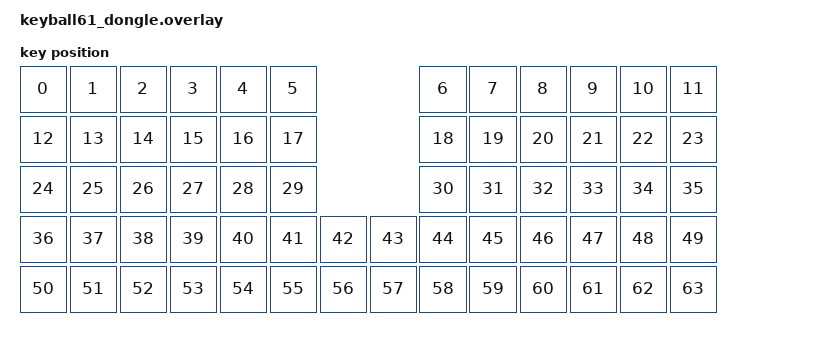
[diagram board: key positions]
/*
 * Донгл Keyball61: подключается к компьютеру по USB, клавиш и трекбола
 * на нём нет. Принимает данные от половин по Bluetooth.
 */

#include "keyball61_layout.dtsi"
#include "keyball61_trackball_split.dtsi"
#include <input/processors.dtsi>
#include <physical_layouts.dtsi>
#include <dt-bindings/zmk/input_transform.h>
#include <zephyr/dt-bindings/input/input-event-codes.h>

/ {
    chosen {
        /* Для ZMK Studio: вместо отдельных kscan и matrix-transform
         * используется физическая раскладка, которая на них ссылается. */
        /delete-property/ zmk,matrix-transform;
        zmk,physical-layout = &keyball61_physical_layout;
    };

    /* Физическая раскладка клавиш для ZMK Studio (порядок клавиш = порядок в keymap).
     * Размеры и координаты в сотых долях клавиши (100 = 1 клавиша). */
    keyball61_physical_layout: keyball61_physical_layout {
        compatible = "zmk,physical-layout";
        display-name = "Keyball61";
        kscan = <&mock_kscan>;
        transform = <&default_transform>;
        keys
        = <&key_physical_attrs 100 100 0 0 0 0 0>
        , <&key_physical_attrs 100 100 100 0 0 0 0>
        , <&key_physical_attrs 100 100 200 0 0 0 0>
        , <&key_physical_attrs 100 100 300 0 0 0 0>
        , <&key_physical_attrs 100 100 400 0 0 0 0>
        , <&key_physical_attrs 100 100 500 0 0 0 0>
        , <&key_physical_attrs 100 100 800 0 0 0 0>
        , <&key_physical_attrs 100 100 900 0 0 0 0>
        , <&key_physical_attrs 100 100 1000 0 0 0 0>
        , <&key_physical_attrs 100 100 1100 0 0 0 0>
        , <&key_physical_attrs 100 100 1200 0 0 0 0>
        , <&key_physical_attrs 100 100 1300 0 0 0 0>
        , <&key_physical_attrs 100 100 0 100 0 0 0>
        , <&key_physical_attrs 100 100 100 100 0 0 0>
        , <&key_physical_attrs 100 100 200 100 0 0 0>
        , <&key_physical_attrs 100 100 300 100 0 0 0>
        , <&key_physical_attrs 100 100 400 100 0 0 0>
        , <&key_physical_attrs 100 100 500 100 0 0 0>
        , <&key_physical_attrs 100 100 800 100 0 0 0>
        , <&key_physical_attrs 100 100 900 100 0 0 0>
        , <&key_physical_attrs 100 100 1000 100 0 0 0>
        , <&key_physical_attrs 100 100 1100 100 0 0 0>
        , <&key_physical_attrs 100 100 1200 100 0 0 0>
        , <&key_physical_attrs 100 100 1300 100 0 0 0>
        , <&key_physical_attrs 100 100 0 200 0 0 0>
        , <&key_physical_attrs 100 100 100 200 0 0 0>
        , <&key_physical_attrs 100 100 200 200 0 0 0>
        , <&key_physical_attrs 100 100 300 200 0 0 0>
        , <&key_physical_attrs 100 100 400 200 0 0 0>
        , <&key_physical_attrs 100 100 500 200 0 0 0>
        , <&key_physical_attrs 100 100 800 200 0 0 0>
        , <&key_physical_attrs 100 100 900 200 0 0 0>
        , <&key_physical_attrs 100 100 1000 200 0 0 0>
        , <&key_physical_attrs 100 100 1100 200 0 0 0>
        , <&key_physical_attrs 100 100 1200 200 0 0 0>
        , <&key_physical_attrs 100 100 1300 200 0 0 0>
        , <&key_physical_attrs 100 100 0 300 0 0 0>
        , <&key_physical_attrs 100 100 100 300 0 0 0>
        , <&key_physical_attrs 100 100 200 300 0 0 0>
        , <&key_physical_attrs 100 100 300 300 0 0 0>
        , <&key_physical_attrs 100 100 400 300 0 0 0>
        , <&key_physical_attrs 100 100 500 300 0 0 0>
        , <&key_physical_attrs 100 100 600 300 0 0 0>
        , <&key_physical_attrs 100 100 700 300 0 0 0>
        , <&key_physical_attrs 100 100 800 300 0 0 0>
        , <&key_physical_attrs 100 100 900 300 0 0 0>
        , <&key_physical_attrs 100 100 1000 300 0 0 0>
        , <&key_physical_attrs 100 100 1100 300 0 0 0>
        , <&key_physical_attrs 100 100 1200 300 0 0 0>
        , <&key_physical_attrs 100 100 1300 300 0 0 0>
        , <&key_physical_attrs 100 100 0 400 0 0 0>
        , <&key_physical_attrs 100 100 100 400 0 0 0>
        , <&key_physical_attrs 100 100 200 400 0 0 0>
        , <&key_physical_attrs 100 100 300 400 0 0 0>
        , <&key_physical_attrs 100 100 400 400 0 0 0>
        , <&key_physical_attrs 100 100 500 400 0 0 0>
        , <&key_physical_attrs 100 100 600 400 0 0 0>
        , <&key_physical_attrs 100 100 700 400 0 0 0>
        , <&key_physical_attrs 100 100 800 400 0 0 0>
        , <&key_physical_attrs 100 100 900 400 0 0 0>
        , <&key_physical_attrs 100 100 1000 400 0 0 0>
        , <&key_physical_attrs 100 100 1100 400 0 0 0>
        , <&key_physical_attrs 100 100 1200 400 0 0 0>
        , <&key_physical_attrs 100 100 1300 400 0 0 0>
        ;
    };

    mock_kscan: mock_kscan_0 {
        compatible = "zmk,kscan-mock";
        columns = <0>;
        rows = <0>;
        events = <0>;
    };

    input_processors {
        /* Масштабирование прокрутки с накоплением остатка (плавный скролл) */
        kb_scroll_scaler: kb_scroll_scaler {
            compatible = "zmk,input-processor-scaler";
            #input-processor-cells = <2>;
            type = <INPUT_EV_REL>;
            codes = <INPUT_REL_WHEEL INPUT_REL_HWHEEL>;
            track-remainders;
        };

        /* Масштабирование курсора с накоплением остатка (медленный режим без «мёртвых» шагов) */
        kb_xy_scaler: kb_xy_scaler {
            compatible = "zmk,input-processor-scaler";
            #input-processor-cells = <2>;
            type = <INPUT_EV_REL>;
            codes = <INPUT_REL_X INPUT_REL_Y>;
            track-remainders;
        };
    };

    /* Слои-флаги скорости прокрутки + слой 3 (режим прокрутки) = слои 8 и 9 */
    conditional_layers {
        compatible = "zmk,conditional-layers";

        scroll_slow_active {
            if-layers = <3 6>;
            then-layer = <8>;
        };

        scroll_fast_active {
            if-layers = <3 7>;
            then-layer = <9>;
        };
    };
};

/* Включаем обработку трекбола на донгле.
 *
 * Правила проверяются сверху вниз, срабатывает первое подошедшее.
 * Слои: 3 = прокрутка (удерживается), 4/5 = курсор медленнее/быстрее (включаются клавишей),
 *       6/7 = прокрутка медленнее/быстрее (включаются клавишей), 8/9 = служебные.
 */
&trackball_listener {
    status = "okay";

    /* Прокрутка, медленная (слой 3 + флаг 6) */
    scroll_slow {
        layers = <8>;
        input-processors = <&zip_xy_to_scroll_mapper &zip_scroll_transform INPUT_TRANSFORM_Y_INVERT &kb_scroll_scaler 1 8>;
    };

    /* Прокрутка, быстрая (слой 3 + флаг 7) */
    scroll_fast {
        layers = <9>;
        input-processors = <&zip_xy_to_scroll_mapper &zip_scroll_transform INPUT_TRANSFORM_Y_INVERT &kb_scroll_scaler 1 2>;
    };

    /* Прокрутка, обычная. 1/4 как делитель 4 в QMK. */
    scroller {
        layers = <3>;
        input-processors = <&zip_xy_to_scroll_mapper &zip_scroll_transform INPUT_TRANSFORM_Y_INVERT &kb_scroll_scaler 1 4>;
    };

    /* Курсор медленнее: в 2 раза */
    cursor_slow {
        layers = <4>;
        input-processors = <&kb_xy_scaler 1 2>;
    };

    /* Курсор быстрее: в 2 раза */
    cursor_fast {
        layers = <5>;
        input-processors = <&kb_xy_scaler 2 1>;
    };
};
